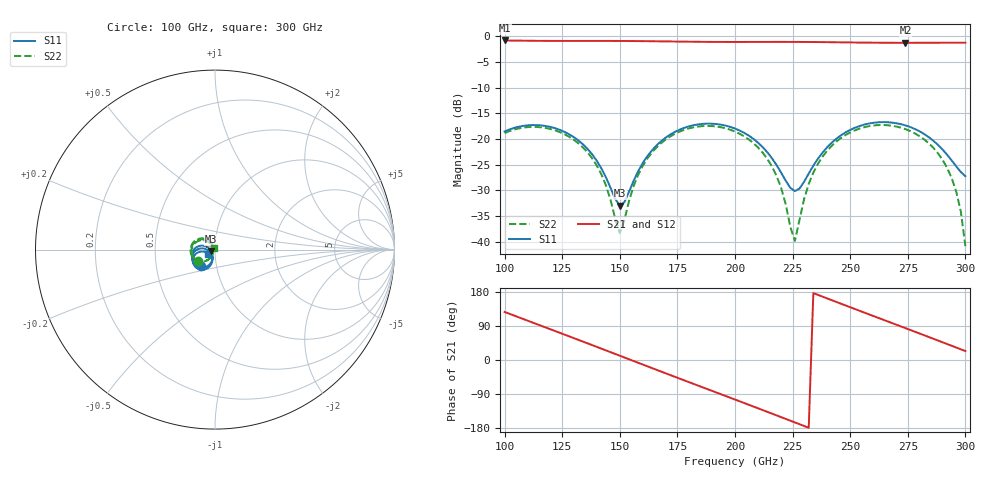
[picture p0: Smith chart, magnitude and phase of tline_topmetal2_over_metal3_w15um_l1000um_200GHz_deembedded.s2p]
! Created with skrf 2.0.1 (http://scikit-rf.org).
# GHz S DB R 50.0
!freq dBS11 angS11 dBS21 angS21 dBS12 angS12 dBS22 angS22
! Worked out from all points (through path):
!   101 points, 100 GHz to 300 GHz, reference 50 ohm
!   highest |S21| = -0.82 dB at 100 GHz (marker M1); lowest = -1.3 dB at 274 GHz (marker M2)
!   group delay of S21, straight-line fit = 6.44 ps
!   lowest |S11| = -33.0 dB at 150 GHz (marker M3), VSWR 1.05, Z = 48 - j0.853 ohm
!   |S11| at or under -10 dB: start of sweep to end of sweep
!   |S22| runs from -40.9 to -17.3 dB; largest |S21 - S12| = 9.9e-14
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100  -18.54 -130.4  -0.82 126.8  -0.82 126.8  -18.85 -146.1
116  -17.36 -161.8  -0.90 90.0  -0.90 90.0  -17.74 178.8
134  -21.04 166.6  -0.92 48.6  -0.92 48.6  -21.65 141.1
142  -25.71 160.8  -0.92 30.0  -0.92 30.0  -26.87 129.7
150  -32.96 -156.7  -0.92 11.3  -0.92 11.3  -38.27 -176.2
158  -26.25 -105.8  -0.95 -7.4  -0.95 -7.4  -26.95 -118.9
168  -20.41 -112.6  -1.00 -30.7  -1.00 -30.7  -20.78 -133.9
184  -17.16 -139.8  -1.08 -67.6  -1.08 -67.6  -17.57 -167.7
200  -17.97 -168.0  -1.12 -104.4  -1.12 -104.4  -18.56 157.5
216  -23.72 174.5  -1.10 -141.4  -1.10 -141.4  -25.32 126.7
220  -26.53 179.1  -1.10 -150.7  -1.10 -150.7  -29.49 124.2
226  -30.14 -145.8  -1.11 -164.8  -1.11 -164.8  -39.85 -168.5
230  -28.31 -116.5  -1.12 -174.1  -1.12 -174.1  -31.67 -119.3
234  -25.20 -104.9  -1.13 176.5  -1.13 176.5  -26.55 -118.2
248  -18.72 -113.6  -1.20 143.9  -1.20 143.9  -19.22 -143.6
268  -16.80 -146.0  -1.28 97.8  -1.28 97.8  -17.42 172.2
274  -17.36 -155.6  -1.28 84.0  -1.28 84.0  -18.09 158.8
284  -19.61 -168.6  -1.27 60.9  -1.27 60.9  -20.79 136.6
292  -23.03 -171.2  -1.26 42.3  -1.26 42.3  -25.55 120.3
296  -25.31 -164.7  -1.26 32.9  -1.26 32.9  -30.19 114.7
298  -26.42 -157.7  -1.26 28.3  -1.26 28.3  -34.08 115.3
300  -27.24 -147.6  -1.26 23.6  -1.26 23.6  -40.86 129.2
